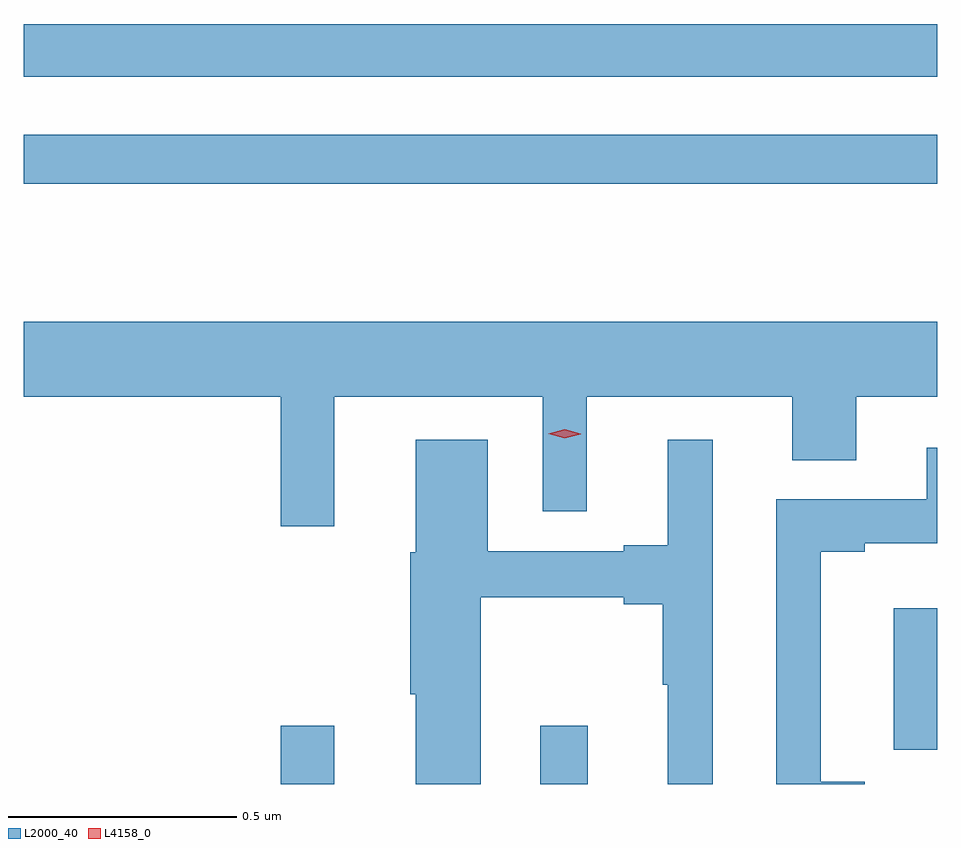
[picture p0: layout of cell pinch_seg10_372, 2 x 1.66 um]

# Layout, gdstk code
import gdstk
lib = gdstk.Library(unit=1e-6, precision=1e-09)
def R(c, l, rs):  # rectangles x0, y0, x1, y1
    for r in rs: c.add(gdstk.rectangle(r[:2], r[2:], *l))
def P(c, l, *ps):  # polygons
    for p in ps: c.add(gdstk.Polygon(p, *l))
L2000_40 = (2000, 40)
L4158_0 = (4158, 0)

pinch_seg10_372 = lib.new_cell('pinch_seg10_372')
R(pinch_seg10_372, L2000_40, [(400.813,1258.176,400.93,1258.303), (401.381,1258.176,401.485,1258.303), (402.155,1258.251,402.25,1258.561), (400.25,1259.49,402.25,1259.598), (400.25,1259.724,402.25,1259.84)])
P(pinch_seg10_372, L2000_40, [(400.93,1259.024),(401.386,1259.024),(401.386,1258.773),(401.483,1258.773),(401.483,1259.024),(401.933,1259.024),(401.933,1258.885),(402.073,1258.885),(402.073,1259.024),(402.25,1259.024),(402.25,1259.188),(400.25,1259.188),(400.25,1259.024),(400.813,1259.024),(400.813,1258.74),(400.93,1258.74)],
  [(401.251,1258.585),(401.564,1258.585),(401.564,1258.57),(401.649,1258.57),(401.649,1258.393),(401.66,1258.393),(401.66,1258.176),(401.758,1258.176),(401.758,1258.93),(401.66,1258.93),(401.66,1258.699),(401.564,1258.699),(401.564,1258.686),(401.266,1258.686),(401.266,1258.93),(401.108,1258.93),(401.108,1258.683),(401.096,1258.683),(401.096,1258.372),(401.108,1258.372),(401.108,1258.176),(401.251,1258.176)],
  [(402.091,1258.181),(401.995,1258.181),(401.995,1258.684),(402.091,1258.684),(402.091,1258.703),(402.25,1258.703),(402.25,1258.912),(402.227,1258.912),(402.227,1258.8),(401.897,1258.8),(401.897,1258.176),(402.091,1258.176)])
P(pinch_seg10_372, L4158_0, [(401.434,1258.933),(401.398,1258.943),(401.398,1258.943),(401.398,1258.943),(401.434,1258.953),(401.469,1258.943),(401.469,1258.942),(401.469,1258.942)])

lib.write_gds('pinch_seg10_372.gds')
